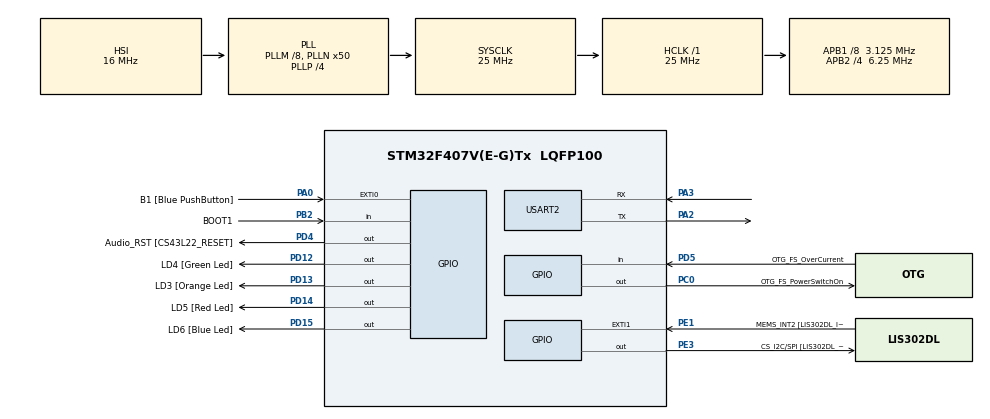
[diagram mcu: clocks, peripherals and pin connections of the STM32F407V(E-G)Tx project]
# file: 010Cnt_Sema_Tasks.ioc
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Mcu.Family=STM32F4
Mcu.Name=STM32F407V(E-G)Tx
Mcu.Package=LQFP100
NVIC.PriorityGroup=NVIC_PRIORITYGROUP_4
NVIC.TIM6_DAC_IRQn=true\:0\:0\:false\:false\:true\:false\:true
NVIC.TimeBase=TIM6_DAC_IRQn
NVIC.TimeBaseIP=TIM6
PA0-WKUP.GPIO_Label=B1 [Blue PushButton]
PA0-WKUP.GPIO_ModeDefaultEXTI=GPIO_MODE_EVT_RISING
PA0-WKUP.GPIO_PuPd=GPIO_NOPULL
PA0-WKUP.Signal=GPXTI0
PA10.GPIO_Label=OTG_FS_ID
PA10.GPIO_Mode=GPIO_MODE_AF_PP
PA10.GPIO_PuPd=GPIO_NOPULL
PA10.GPIO_Speed=GPIO_SPEED_FREQ_LOW
PA10.Signal=USB_OTG_FS_ID
PA11.GPIO_Label=OTG_FS_DM
PA11.GPIO_Mode=GPIO_MODE_AF_PP
PA11.GPIO_PuPd=GPIO_NOPULL
PA11.GPIO_Speed=GPIO_SPEED_FREQ_LOW
PA11.Signal=USB_OTG_FS_DM
PA12.GPIO_Label=OTG_FS_DP
PA12.GPIO_Mode=GPIO_MODE_AF_PP
PA12.GPIO_PuPd=GPIO_NOPULL
PA12.GPIO_Speed=GPIO_SPEED_FREQ_LOW
PA12.Signal=USB_OTG_FS_DP
PA13.GPIO_Label=SWDIO
PA13.Signal=SYS_JTMS-SWDIO
PA14.GPIO_Label=SWCLK
PA14.Signal=SYS_JTCK-SWCLK
PA2.Mode=Asynchronous
PA2.Signal=USART2_TX
PA3.Mode=Asynchronous
PA3.Signal=USART2_RX
PA4.GPIO_Label=I2S3_WS [CS43L22_LRCK]
PA4.GPIO_Mode=GPIO_MODE_AF_PP
PA4.GPIO_PuPd=GPIO_NOPULL
PA4.GPIO_Speed=GPIO_SPEED_FREQ_LOW
PA4.Signal=I2S3_WS
PA5.GPIO_Label=SPI1_SCK [LIS302DL_SCL/SPC]
PA5.GPIO_Mode=GPIO_MODE_AF_PP
PA5.GPIO_PuPd=GPIO_NOPULL
PA5.GPIO_Speed=GPIO_SPEED_FREQ_LOW
PA5.Signal=SPI1_SCK
PA6.GPIO_Label=SPI1_MISO [LIS302DL_SDO]
PA6.GPIO_Mode=GPIO_MODE_AF_PP
PA6.GPIO_PuPd=GPIO_NOPULL
PA6.GPIO_Speed=GPIO_SPEED_FREQ_LOW
PA6.Signal=SPI1_MISO
PA7.GPIO_Label=SPI1_MOSI [LIS302DL_SDA/SDI/SDO]
PA7.GPIO_Mode=GPIO_MODE_AF_PP
PA7.GPIO_PuPd=GPIO_NOPULL
PA7.GPIO_Speed=GPIO_SPEED_FREQ_LOW
PA7.Signal=SPI1_MOSI
PA9.GPIO_Label=VBUS_FS
PA9.GPIO_Mode=GPIO_MODE_INPUT
PA9.GPIO_PuPd=GPIO_NOPULL
PA9.Signal=USB_OTG_FS_VBUS
PB10.GPIO_Label=CLK_IN [MP45DT02_CLK]
PB10.GPIO_Mode=GPIO_MODE_AF_PP
PB10.GPIO_PuPd=GPIO_NOPULL
PB10.GPIO_Speed=GPIO_SPEED_FREQ_LOW
PB10.Signal=I2S2_CK
PB2.GPIO_Label=BOOT1
PB2.GPIO_Mode=GPIO_MODE_INPUT
PB2.GPIO_PuPd=GPIO_NOPULL
PB2.Signal=GPIO_Input
PB3.GPIO_Label=SWO
PB3.Signal=SYS_JTDO-SWO
PB6.GPIO_Label=Audio_SCL [CS43L22_SCL]
PB6.GPIO_Mode=GPIO_MODE_AF_OD
PB6.GPIO_PuPd=GPIO_NOPULL
PB6.GPIO_Speed=GPIO_SPEED_FREQ_LOW
PB6.Signal=I2C1_SCL
PB9.GPIO_Label=Audio_SDA [CS43L22_SDA]
PB9.GPIO_Mode=GPIO_MODE_AF_OD
PB9.GPIO_PuPd=GPIO_NOPULL
PB9.GPIO_Speed=GPIO_SPEED_FREQ_LOW
PB9.Signal=I2C1_SDA
PC0.GPIO_Label=OTG_FS_PowerSwitchOn
PC0.GPIO_PuPd=GPIO_NOPULL
PC0.GPIO_Speed=GPIO_SPEED_FREQ_LOW
PC0.PinState=GPIO_PIN_SET
PC0.Signal=GPIO_Output
PC10.GPIO_Label=I2S3_SCK [CS43L22_SCLK]
PC10.GPIO_Mode=GPIO_MODE_AF_PP
PC10.GPIO_PuPd=GPIO_NOPULL
PC10.GPIO_Speed=GPIO_SPEED_FREQ_LOW
PC10.Signal=I2S3_CK
PC12.GPIO_Label=I2S3_SD [CS43L22_SDIN]
PC12.GPIO_Mode=GPIO_MODE_AF_PP
PC12.GPIO_PuPd=GPIO_NOPULL
PC12.GPIO_Speed=GPIO_SPEED_FREQ_LOW
PC12.Signal=I2S3_SD
PC14-OSC32_IN.GPIO_Label=PC14-OSC32_IN
PC14-OSC32_IN.Signal=RCC_OSC32_IN
PC15-OSC32_OUT.GPIO_Label=PC15-OSC32_OUT
PC15-OSC32_OUT.Signal=RCC_OSC32_OUT
PC3.GPIO_Label=PDM_OUT [MP45DT02_DOUT]
PC3.GPIO_Mode=GPIO_MODE_AF_PP
PC3.GPIO_PuPd=GPIO_NOPULL
PC3.GPIO_Speed=GPIO_SPEED_FREQ_LOW
PC3.Signal=I2S2_SD
PC7.GPIO_Label=I2S3_MCK [CS43L22_MCLK]
PC7.GPIO_Mode=GPIO_MODE_AF_PP
PC7.GPIO_PuPd=GPIO_NOPULL
PC7.GPIO_Speed=GPIO_SPEED_FREQ_LOW
PC7.Signal=I2S3_MCK
PD12.GPIO_Label=LD4 [Green Led]
PD12.GPIO_PuPd=GPIO_NOPULL
PD12.GPIO_Speed=GPIO_SPEED_FREQ_LOW
PD12.Signal=GPIO_Output
PD13.GPIO_Label=LD3 [Orange Led]
PD13.GPIO_PuPd=GPIO_NOPULL
PD13.GPIO_Speed=GPIO_SPEED_FREQ_LOW
PD13.Signal=GPIO_Output
PD14.GPIO_Label=LD5 [Red Led]
PD14.GPIO_PuPd=GPIO_NOPULL
PD14.GPIO_Speed=GPIO_SPEED_FREQ_LOW
PD14.Signal=GPIO_Output
PD15.GPIO_Label=LD6 [Blue Led]
PD15.GPIO_PuPd=GPIO_NOPULL
PD15.GPIO_Speed=GPIO_SPEED_FREQ_LOW
PD15.Signal=GPIO_Output
PD4.GPIO_Label=Audio_RST [CS43L22_RESET]
PD4.GPIO_PuPd=GPIO_NOPULL
PD4.GPIO_Speed=GPIO_SPEED_FREQ_LOW
PD4.Signal=GPIO_Output
PD5.GPIO_Label=OTG_FS_OverCurrent
PD5.GPIO_Mode=GPIO_MODE_INPUT
PD5.GPIO_PuPd=GPIO_NOPULL
PD5.Signal=GPIO_Input
PE1.GPIO_Label=MEMS_INT2 [LIS302DL_INT2]
PE1.GPIO_ModeDefaultEXTI=GPIO_MODE_EVT_RISING
PE1.GPIO_PuPd=GPIO_NOPULL
PE1.Signal=GPXTI1
PE3.GPIO_Label=CS_I2C/SPI [LIS302DL_CS_I2C/SPI]
PE3.GPIO_PuPd=GPIO_NOPULL
PE3.GPIO_Speed=GPIO_SPEED_FREQ_LOW
PE3.Signal=GPIO_Output
PH0-OSC_IN.GPIO_Label=PH0-OSC_IN
PH0-OSC_IN.Signal=RCC_OSC_IN
PH1-OSC_OUT.GPIO_Label=PH1-OSC_OUT
PH1-OSC_OUT.Signal=RCC_OSC_OUT
ProjectManager.HeapSize=0x200
ProjectManager.StackSize=0x400
ProjectManager.TargetToolchain=STM32CubeIDE
RCC.48MHZClocksFreq_Value=14285714.285714285
RCC.AHBFreq_Value=25000000
RCC.APB1CLKDivider=RCC_HCLK_DIV8
RCC.APB1Freq_Value=3125000
RCC.APB1TimFreq_Value=6250000
RCC.APB2CLKDivider=RCC_HCLK_DIV4
RCC.APB2Freq_Value=6250000
RCC.APB2TimFreq_Value=12500000
RCC.CortexFreq_Value=25000000
RCC.HCLKFreq_Value=25000000
RCC.HSE_VALUE=8000000
RCC.HSI_VALUE=16000000
RCC.LSE_VALUE=32768
RCC.PLLM=8
RCC.PLLN=50
RCC.PLLP=RCC_PLLP_DIV4
RCC.PLLQ=7
RCC.SYSCLKFreq_VALUE=25000000
RCC.SYSCLKSource=RCC_SYSCLKSOURCE_PLLCLK
RCC.VCOOutputFreq_Value=100000000
USART2.VirtualMode=VM_ASYNC
VP_SYS_VS_tim6.Mode=TIM6
board=STM32F4DISCOVERY

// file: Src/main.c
/* USER CODE BEGIN Header */
/**
  ******************************************************************************
  * @file           : main.c
  * @brief          : Main program body
  ******************************************************************************
  * @attention
  *
  * <h2><center>&copy; Copyright (c) 2024 STMicroelectronics.
  * All rights reserved.</center></h2>
  *
  * This software component is licensed by ST under BSD 3-Clause license,
  * the "License"; You may not use this file except in compliance with the
  * License. You may obtain a copy of the License at:
  *                        opensource.org/licenses/BSD-3-Clause
  *
  ******************************************************************************
  */
/* USER CODE END Header */

#include "main.h"

/* USER CODE BEGIN Includes */
/* Library includes. */
#include <stdio.h>
#include <stdlib.h>
#include <stdint.h>
#include <string.h>

/* FreeRTOS includes. */
#include "FreeRTOS.h"
#include "task.h"
#include "semphr.h"

#include "stm32f4xx.h"
/* USER CODE END Includes */

UART_HandleTypeDef huart2;

/* USER CODE BEGIN PV */
#define BL_DEBUG_MSG_END
#define D_UART	&huart2

void printmsg(char *format,...);
/* USER CODE END PV */

void SystemClock_Config(void);
static void MX_GPIO_Init(void);
static void MX_USART2_UART_Init(void);
/* USER CODE BEGIN PFP */
static void PeriodicTask_handler(void *pvParameters);
static void HandlerTask_handler(void *pvParameters);
static void SetupSoftwareInterrupt();
/* USER CODE END PFP */

/* USER CODE BEGIN 0 */
TaskHandle_t PeriodicTask_handle;
TaskHandle_t HandlerTask_handle;

/* Declare a variable of type xSemaphoreHandle.  This is used to reference the
semaphore that is used to synchronize a task with an interrupt. */
xSemaphoreHandle xCountingSemaphore;
/* USER CODE END 0 */

int main(void)
{
  /* USER CODE BEGIN 1 */
	BaseType_t status;
  /* USER CODE END 1 */

  /* MCU Configuration--------------------------------------------------------*/

  /* Reset of all peripherals, Initializes the Flash interface and the Systick. */
  HAL_Init();

  /* Configure the system clock */
  SystemClock_Config();

  /* Initialize all configured peripherals */
  MX_GPIO_Init();
  MX_USART2_UART_Init();
  /* USER CODE BEGIN 2 */

  printmsg("Demo of usage of counting semaphore\r\n");

  /*The semaphore is created to have a maximum count value of 10, and an initial count value of 0.*/
  xCountingSemaphore = xSemaphoreCreateCounting(10, 0);

  if( xCountingSemaphore != NULL )
  {
	  /* Enable the button interrupt and set its priority. */
	  SetupSoftwareInterrupt();

	  /* Create the 'handler' task.  This is the task that will be synchronized
		with the interrupt.  The handler task is created with a lower priority than Periodic Task */
	  status = xTaskCreate(HandlerTask_handler, "Handler", 500, NULL, 1, NULL );
	  configASSERT(status == pdPASS);

	  /* Create the task that will periodically generate a software interrupt.
		This is created with a higher priority than the handler task to ensure it will
		get preempted each time the handler task exist the Blocked state. */
	  status = xTaskCreate(PeriodicTask_handler, "Periodic", 500, NULL, 3, NULL );
	  configASSERT(status == pdPASS);

	  /* Start the scheduler so the created tasks start executing. */
	  vTaskStartScheduler();
  }
  /* USER CODE END 2 */

  /* Infinite loop */
  while (1)
  {

  }
}

void SystemClock_Config(void)
{
  RCC_OscInitTypeDef RCC_OscInitStruct = {0};
  RCC_ClkInitTypeDef RCC_ClkInitStruct = {0};

  /** Configure the main internal regulator output voltage
  */
  __HAL_RCC_PWR_CLK_ENABLE();
  __HAL_PWR_VOLTAGESCALING_CONFIG(PWR_REGULATOR_VOLTAGE_SCALE1);
  /** Initializes the CPU, AHB and APB busses clocks
  */
  RCC_OscInitStruct.OscillatorType = RCC_OSCILLATORTYPE_HSI;
  RCC_OscInitStruct.HSIState = RCC_HSI_ON;
  RCC_OscInitStruct.HSICalibrationValue = RCC_HSICALIBRATION_DEFAULT;
  RCC_OscInitStruct.PLL.PLLState = RCC_PLL_ON;
  RCC_OscInitStruct.PLL.PLLSource = RCC_PLLSOURCE_HSI;
  RCC_OscInitStruct.PLL.PLLM = 8;
  RCC_OscInitStruct.PLL.PLLN = 50;
  RCC_OscInitStruct.PLL.PLLP = RCC_PLLP_DIV4;
  RCC_OscInitStruct.PLL.PLLQ = 7;
  if (HAL_RCC_OscConfig(&RCC_OscInitStruct) != HAL_OK)
  {
    Error_Handler();
  }
  /** Initializes the CPU, AHB and APB busses clocks
  */
  RCC_ClkInitStruct.ClockType = RCC_CLOCKTYPE_HCLK|RCC_CLOCKTYPE_SYSCLK
                              |RCC_CLOCKTYPE_PCLK1|RCC_CLOCKTYPE_PCLK2;
  RCC_ClkInitStruct.SYSCLKSource = RCC_SYSCLKSOURCE_PLLCLK;
  RCC_ClkInitStruct.AHBCLKDivider = RCC_SYSCLK_DIV1;
  RCC_ClkInitStruct.APB1CLKDivider = RCC_HCLK_DIV8;
  RCC_ClkInitStruct.APB2CLKDivider = RCC_HCLK_DIV4;

  if (HAL_RCC_ClockConfig(&RCC_ClkInitStruct, FLASH_LATENCY_0) != HAL_OK)
  {
    Error_Handler();
  }
}

static void MX_USART2_UART_Init(void)
{

  huart2.Instance = USART2;
  huart2.Init.BaudRate = 115200;
  huart2.Init.WordLength = UART_WORDLENGTH_8B;
  huart2.Init.StopBits = UART_STOPBITS_1;
  huart2.Init.Parity = UART_PARITY_NONE;
  huart2.Init.Mode = UART_MODE_TX_RX;
  huart2.Init.HwFlowCtl = UART_HWCONTROL_NONE;
  huart2.Init.OverSampling = UART_OVERSAMPLING_16;
  if (HAL_UART_Init(&huart2) != HAL_OK)
  {
    Error_Handler();
  }

}

static void MX_GPIO_Init(void)
{
  GPIO_InitTypeDef GPIO_InitStruct = {0};

  /* GPIO Ports Clock Enable */
  __HAL_RCC_GPIOE_CLK_ENABLE();
  __HAL_RCC_GPIOC_CLK_ENABLE();
  __HAL_RCC_GPIOH_CLK_ENABLE();
  __HAL_RCC_GPIOA_CLK_ENABLE();
  __HAL_RCC_GPIOB_CLK_ENABLE();
  __HAL_RCC_GPIOD_CLK_ENABLE();

  /*Configure GPIO pin Output Level */
  HAL_GPIO_WritePin(CS_I2C_SPI_GPIO_Port, CS_I2C_SPI_Pin, GPIO_PIN_RESET);

  /*Configure GPIO pin Output Level */
  HAL_GPIO_WritePin(OTG_FS_PowerSwitchOn_GPIO_Port, OTG_FS_PowerSwitchOn_Pin, GPIO_PIN_SET);

  /*Configure GPIO pin Output Level */
  HAL_GPIO_WritePin(GPIOD, LD4_Pin|LD3_Pin|LD5_Pin|LD6_Pin
                          |Audio_RST_Pin, GPIO_PIN_RESET);

  /*Configure GPIO pin : CS_I2C_SPI_Pin */
  GPIO_InitStruct.Pin = CS_I2C_SPI_Pin;
  GPIO_InitStruct.Mode = GPIO_MODE_OUTPUT_PP;
  GPIO_InitStruct.Pull = GPIO_NOPULL;
  GPIO_InitStruct.Speed = GPIO_SPEED_FREQ_LOW;
  HAL_GPIO_Init(CS_I2C_SPI_GPIO_Port, &GPIO_InitStruct);

  /*Configure GPIO pin : OTG_FS_PowerSwitchOn_Pin */
  GPIO_InitStruct.Pin = OTG_FS_PowerSwitchOn_Pin;
  GPIO_InitStruct.Mode = GPIO_MODE_OUTPUT_PP;
  GPIO_InitStruct.Pull = GPIO_NOPULL;
  GPIO_InitStruct.Speed = GPIO_SPEED_FREQ_LOW;
  HAL_GPIO_Init(OTG_FS_PowerSwitchOn_GPIO_Port, &GPIO_InitStruct);

  /*Configure GPIO pin : PDM_OUT_Pin */
  GPIO_InitStruct.Pin = PDM_OUT_Pin;
  GPIO_InitStruct.Mode = GPIO_MODE_AF_PP;
  GPIO_InitStruct.Pull = GPIO_NOPULL;
  GPIO_InitStruct.Speed = GPIO_SPEED_FREQ_LOW;
  GPIO_InitStruct.Alternate = GPIO_AF5_SPI2;
  HAL_GPIO_Init(PDM_OUT_GPIO_Port, &GPIO_InitStruct);

  /*Configure GPIO pin : B1_Pin */
  GPIO_InitStruct.Pin = B1_Pin;
  GPIO_InitStruct.Mode = GPIO_MODE_EVT_RISING;
  GPIO_InitStruct.Pull = GPIO_NOPULL;
  HAL_GPIO_Init(B1_GPIO_Port, &GPIO_InitStruct);

  /*Configure GPIO pin : I2S3_WS_Pin */
  GPIO_InitStruct.Pin = I2S3_WS_Pin;
  GPIO_InitStruct.Mode = GPIO_MODE_AF_PP;
  GPIO_InitStruct.Pull = GPIO_NOPULL;
  GPIO_InitStruct.Speed = GPIO_SPEED_FREQ_LOW;
  GPIO_InitStruct.Alternate = GPIO_AF6_SPI3;
  HAL_GPIO_Init(I2S3_WS_GPIO_Port, &GPIO_InitStruct);

  /*Configure GPIO pins : SPI1_SCK_Pin SPI1_MISO_Pin SPI1_MOSI_Pin */
  GPIO_InitStruct.Pin = SPI1_SCK_Pin|SPI1_MISO_Pin|SPI1_MOSI_Pin;
  GPIO_InitStruct.Mode = GPIO_MODE_AF_PP;
  GPIO_InitStruct.Pull = GPIO_NOPULL;
  GPIO_InitStruct.Speed = GPIO_SPEED_FREQ_LOW;
  GPIO_InitStruct.Alternate = GPIO_AF5_SPI1;
  HAL_GPIO_Init(GPIOA, &GPIO_InitStruct);

  /*Configure GPIO pin : BOOT1_Pin */
  GPIO_InitStruct.Pin = BOOT1_Pin;
  GPIO_InitStruct.Mode = GPIO_MODE_INPUT;
  GPIO_InitStruct.Pull = GPIO_NOPULL;
  HAL_GPIO_Init(BOOT1_GPIO_Port, &GPIO_InitStruct);

  /*Configure GPIO pin : CLK_IN_Pin */
  GPIO_InitStruct.Pin = CLK_IN_Pin;
  GPIO_InitStruct.Mode = GPIO_MODE_AF_PP;
  GPIO_InitStruct.Pull = GPIO_NOPULL;
  GPIO_InitStruct.Speed = GPIO_SPEED_FREQ_LOW;
  GPIO_InitStruct.Alternate = GPIO_AF5_SPI2;
  HAL_GPIO_Init(CLK_IN_GPIO_Port, &GPIO_InitStruct);

  /*Configure GPIO pins : LD4_Pin LD3_Pin LD5_Pin LD6_Pin
                           Audio_RST_Pin */
  GPIO_InitStruct.Pin = LD4_Pin|LD3_Pin|LD5_Pin|LD6_Pin
                          |Audio_RST_Pin;
  GPIO_InitStruct.Mode = GPIO_MODE_OUTPUT_PP;
  GPIO_InitStruct.Pull = GPIO_NOPULL;
  GPIO_InitStruct.Speed = GPIO_SPEED_FREQ_LOW;
  HAL_GPIO_Init(GPIOD, &GPIO_InitStruct);

  /*Configure GPIO pins : I2S3_MCK_Pin I2S3_SCK_Pin I2S3_SD_Pin */
  GPIO_InitStruct.Pin = I2S3_MCK_Pin|I2S3_SCK_Pin|I2S3_SD_Pin;
  GPIO_InitStruct.Mode = GPIO_MODE_AF_PP;
  GPIO_InitStruct.Pull = GPIO_NOPULL;
  GPIO_InitStruct.Speed = GPIO_SPEED_FREQ_LOW;
  GPIO_InitStruct.Alternate = GPIO_AF6_SPI3;
  HAL_GPIO_Init(GPIOC, &GPIO_InitStruct);

  /*Configure GPIO pin : VBUS_FS_Pin */
  GPIO_InitStruct.Pin = VBUS_FS_Pin;
  GPIO_InitStruct.Mode = GPIO_MODE_INPUT;
  GPIO_InitStruct.Pull = GPIO_NOPULL;
  HAL_GPIO_Init(VBUS_FS_GPIO_Port, &GPIO_InitStruct);

  /*Configure GPIO pins : OTG_FS_ID_Pin OTG_FS_DM_Pin OTG_FS_DP_Pin */
  GPIO_InitStruct.Pin = OTG_FS_ID_Pin|OTG_FS_DM_Pin|OTG_FS_DP_Pin;
  GPIO_InitStruct.Mode = GPIO_MODE_AF_PP;
  GPIO_InitStruct.Pull = GPIO_NOPULL;
  GPIO_InitStruct.Speed = GPIO_SPEED_FREQ_LOW;
  GPIO_InitStruct.Alternate = GPIO_AF10_OTG_FS;
  HAL_GPIO_Init(GPIOA, &GPIO_InitStruct);

  /*Configure GPIO pin : OTG_FS_OverCurrent_Pin */
  GPIO_InitStruct.Pin = OTG_FS_OverCurrent_Pin;
  GPIO_InitStruct.Mode = GPIO_MODE_INPUT;
  GPIO_InitStruct.Pull = GPIO_NOPULL;
  HAL_GPIO_Init(OTG_FS_OverCurrent_GPIO_Port, &GPIO_InitStruct);

  /*Configure GPIO pins : Audio_SCL_Pin Audio_SDA_Pin */
  GPIO_InitStruct.Pin = Audio_SCL_Pin|Audio_SDA_Pin;
  GPIO_InitStruct.Mode = GPIO_MODE_AF_OD;
  GPIO_InitStruct.Pull = GPIO_PULLUP;
  GPIO_InitStruct.Speed = GPIO_SPEED_FREQ_LOW;
  GPIO_InitStruct.Alternate = GPIO_AF4_I2C1;
  HAL_GPIO_Init(GPIOB, &GPIO_InitStruct);

  /*Configure GPIO pin : MEMS_INT2_Pin */
  GPIO_InitStruct.Pin = MEMS_INT2_Pin;
  GPIO_InitStruct.Mode = GPIO_MODE_EVT_RISING;
  GPIO_InitStruct.Pull = GPIO_NOPULL;
  HAL_GPIO_Init(MEMS_INT2_GPIO_Port, &GPIO_InitStruct);

}

/* USER CODE BEGIN 4 */
static void PeriodicTask_handler(void *pvParameters)
{
	while(1)
	{
		/* This task is just used to 'simulate' an interrupt.
		 * This is done by periodically generating a software interrupt. */
		vTaskDelay(pdMS_TO_TICKS(500));

		printmsg("Periodic task - Pending the interrupt.\r\n");
		 //pend the interrupt
		NVIC_SetPendingIRQ(EXTI15_10_IRQn);

		printmsg("Periodic task - Resuming.\r\n");
	}
}

static void HandlerTask_handler(void *pvParameters)
{
	while(1)
	{
		/* Use the semaphore to wait for the event.  The semaphore was created
		before the scheduler was started so before this task ran for the first
		time.  The task blocks indefinitely meaning this function call will only
		return once the semaphore has been successfully obtained - so there is no
		need to check the returned value. */
		xSemaphoreTake(xCountingSemaphore, portMAX_DELAY);

		/* To get here the event must have occurred.  Process the event (in this
		case we just print out a message). */
		printmsg("Handler task - Processing event.\r\n");
	}
}

void EXTI15_10_IRQHandler(void)
{
	BaseType_t xHigherPriorityTaskWoken = pdFALSE;

	printmsg("==>Button_Handler\r\n");

	xSemaphoreGiveFromISR( xCountingSemaphore, &xHigherPriorityTaskWoken );
	xSemaphoreGiveFromISR( xCountingSemaphore, &xHigherPriorityTaskWoken );
	xSemaphoreGiveFromISR( xCountingSemaphore, &xHigherPriorityTaskWoken );
	xSemaphoreGiveFromISR( xCountingSemaphore, &xHigherPriorityTaskWoken );
	xSemaphoreGiveFromISR( xCountingSemaphore, &xHigherPriorityTaskWoken );

	/*NOTE: The syntax for forcing a context switch within an ISR varies between
    FreeRTOS ports.  The portEND_SWITCHING_ISR() macro is provided as part of
    the Cortex M3 port layer for this purpose.  taskYIELD() must never be called
    from an ISR! */
	portEND_SWITCHING_ISR( xHigherPriorityTaskWoken );
}

static void SetupSoftwareInterrupt()
{
	/* here were simulating the button interrupt by manually setting the interrupt enable bit in the NVIC enable register*/

	/* The interrupt service routine uses an (interrupt safe) FreeRTOS API
	function so the interrupt priority must be at or below the priority defined
	by configSYSCALL_INTERRUPT_PRIORITY. */

	NVIC_SetPriority( EXTI15_10_IRQn, configLIBRARY_MAX_SYSCALL_INTERRUPT_PRIORITY );

	/* Enable the interrupt. */
	NVIC_EnableIRQ( EXTI15_10_IRQn );
}

void printmsg(char *format,...)
{
#ifdef BL_DEBUG_MSG_END
	char str[80];

	va_list args;
	va_start(args, format);
	vsprintf(str, format, args);
	HAL_UART_Transmit(D_UART, (uint8_t *)str, strlen(str), HAL_MAX_DELAY);
	va_end(args);
#endif
}
/* USER CODE END 4 */

void HAL_TIM_PeriodElapsedCallback(TIM_HandleTypeDef *htim)
{
  if (htim->Instance == TIM6) {
    HAL_IncTick();
  }
}

void Error_Handler(void)
{
}

/************************ (C) COPYRIGHT STMicroelectronics *****END OF FILE****/
